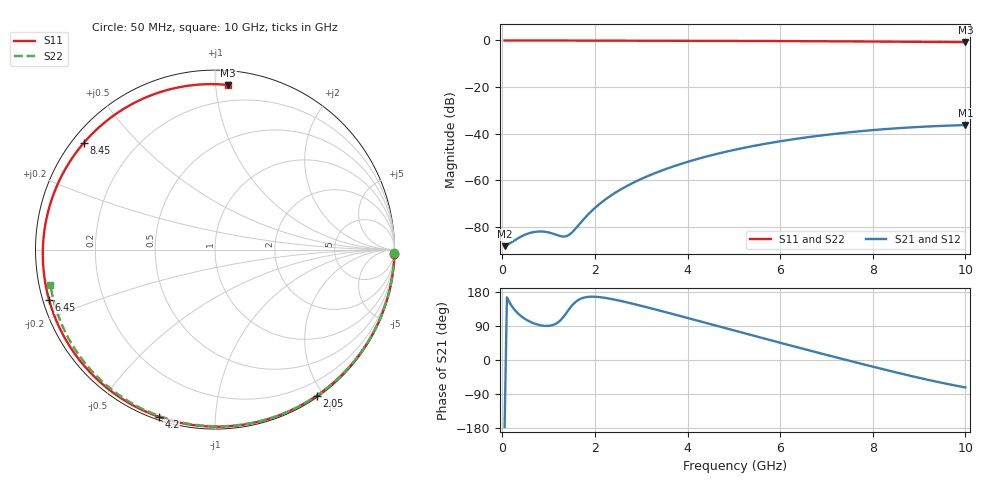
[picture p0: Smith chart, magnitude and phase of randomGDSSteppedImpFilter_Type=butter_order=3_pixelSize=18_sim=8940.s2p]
! freq	dB(S11)	phase(S11)	dB(S12)	phase(S12)
!  dB(S21)	phase(S21)	dB(S22)	phase(S22)
!S-par simulation data
#  GHz  S  DB  R 50
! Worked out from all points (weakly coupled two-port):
!   200 points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, 50 MHz to 10 GHz, reference 50 ohm
!   highest |S21| = -36.28 dB at 10 GHz (marker M1); lowest = -88.2 dB at 50 MHz (marker M2)
!   lowest |S11| = -0.7 dB at 10 GHz (marker M3), VSWR 23.94, Z = 4.53 + j53.9 ohm
!   |S11| at or under -10 dB: nowhere
!   |S22| runs from -0.6 to 0.0 dB; largest |S21 - S12| = 0
!   S11 on the Smith chart (normalised r, x): 50 MHz: 0, -83; 2.05 GHz: 0.02, -1.91; 4.2 GHz: 0.01, -0.72; 6.45 GHz: 0.02, -0.15; 8.45 GHz: 0.03, +0.36; 10 GHz: 0.09, +1.08
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0.05  -0.00 -1.4  -88.21 -176.9  -88.21 -176.9  -0.00 -1.0
0.8  -0.02 -21.9  -81.92 92.3  -81.92 92.3  -0.02 -15.5
1.6  -0.05 -43.4  -80.29 154.9  -80.29 154.9  -0.04 -30.7
1.75  -0.06 -47.3  -76.83 164.2  -76.83 164.2  -0.04 -33.5
2.05  -0.07 -55.2  -70.95 166.5  -70.95 166.5  -0.05 -39.1
2.35  -0.08 -62.9  -66.46 161.2  -66.46 161.2  -0.06 -44.6
2.65  -0.09 -70.5  -62.86 153.3  -62.86 153.3  -0.06 -50.0
3.4  -0.12 -89.2  -56.09 130.4  -56.09 130.4  -0.08 -63.4
4.2  -0.15 -108.6  -50.90 104.4  -50.90 104.4  -0.11 -77.1
5.05  -0.20 -129.0  -46.74 76.5  -46.74 76.5  -0.14 -91.2
5.8  -0.25 -147.1  -43.89 51.9  -43.89 51.9  -0.18 -103.2
6.45  -0.30 -163.2  -41.89 31.0  -41.89 31.0  -0.21 -113.4
6.7  -0.32 -169.5  -41.21 23.0  -41.21 23.0  -0.23 -117.2
7.15  -0.37 178.6  -40.12 8.8  -40.12 8.8  -0.26 -124.1
7.55  -0.41 167.7  -39.27 -3.7  -39.27 -3.7  -0.29 -130.2
7.95  -0.46 156.1  -38.53 -16.1  -38.53 -16.1  -0.33 -136.3
8.35  -0.50 144.0  -37.89 -28.2  -37.89 -28.2  -0.36 -142.4
8.45  -0.52 140.8  -37.75 -31.2  -37.75 -31.2  -0.37 -143.9
8.85  -0.57 127.7  -37.24 -42.8  -37.24 -42.8  -0.42 -150.0
9.3  -0.63 112.0  -36.79 -55.2  -36.79 -55.2  -0.47 -157.0
9.65  -0.68 99.0  -36.51 -64.2  -36.51 -64.2  -0.51 -162.4
10  -0.73 85.5  -36.28 -72.4  -36.28 -72.4  -0.56 -168.0
